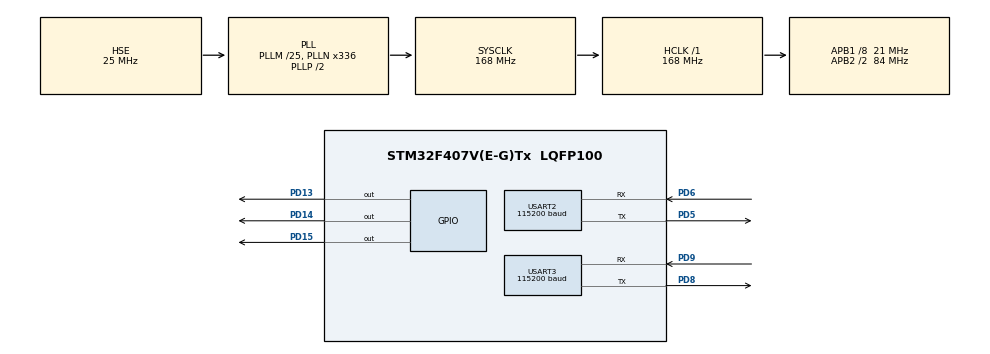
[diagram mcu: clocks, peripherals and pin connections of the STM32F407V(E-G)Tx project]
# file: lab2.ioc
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Dma.Request0=USART2_RX
Dma.USART2_RX.0.Direction=DMA_PERIPH_TO_MEMORY
Dma.USART2_RX.0.FIFOMode=DMA_FIFOMODE_DISABLE
Dma.USART2_RX.0.Instance=DMA1_Stream5
Dma.USART2_RX.0.MemDataAlignment=DMA_MDATAALIGN_BYTE
Dma.USART2_RX.0.MemInc=DMA_MINC_ENABLE
Dma.USART2_RX.0.Mode=DMA_NORMAL
Dma.USART2_RX.0.PeriphDataAlignment=DMA_PDATAALIGN_BYTE
Dma.USART2_RX.0.PeriphInc=DMA_PINC_DISABLE
Dma.USART2_RX.0.Priority=DMA_PRIORITY_LOW
IWDG.Prescaler=IWDG_PRESCALER_64
Mcu.Family=STM32F4
Mcu.Name=STM32F407V(E-G)Tx
Mcu.Package=LQFP100
NVIC.DMA1_Stream5_IRQn=true\:0\:0\:false\:false\:true\:false\:true
NVIC.PriorityGroup=NVIC_PRIORITYGROUP_4
NVIC.TIM1_UP_TIM10_IRQn=true\:0\:0\:false\:false\:true\:true\:true
NVIC.USART2_IRQn=true\:0\:0\:false\:false\:true\:true\:true
NVIC.USART3_IRQn=true\:0\:0\:false\:false\:true\:true\:true
PA13.Mode=JTAG_5_pins
PA13.Signal=SYS_JTMS-SWDIO
PA14.Mode=JTAG_5_pins
PA14.Signal=SYS_JTCK-SWCLK
PA15.Mode=JTAG_5_pins
PA15.Signal=SYS_JTDI
PB3.Mode=JTAG_5_pins
PB3.Signal=SYS_JTDO-SWO
PB4.Mode=JTAG_5_pins
PB4.Signal=SYS_JTRST
PC14-OSC32_IN.Mode=LSE-External-Oscillator
PC14-OSC32_IN.Signal=RCC_OSC32_IN
PC15-OSC32_OUT.Mode=LSE-External-Oscillator
PC15-OSC32_OUT.Signal=RCC_OSC32_OUT
PD13.GPIO_Speed=GPIO_SPEED_FREQ_HIGH
PD13.PinState=GPIO_PIN_RESET
PD13.Signal=GPIO_Output
PD14.GPIO_Speed=GPIO_SPEED_FREQ_HIGH
PD14.PinState=GPIO_PIN_RESET
PD14.Signal=GPIO_Output
PD15.GPIO_Speed=GPIO_SPEED_FREQ_HIGH
PD15.Signal=GPIO_Output
PD5.Mode=Asynchronous
PD5.Signal=USART2_TX
PD6.Mode=Asynchronous
PD6.Signal=USART2_RX
PD8.Mode=Asynchronous
PD8.Signal=USART3_TX
PD9.Mode=Asynchronous
PD9.Signal=USART3_RX
PH0-OSC_IN.Mode=HSE-External-Oscillator
PH0-OSC_IN.Signal=RCC_OSC_IN
PH1-OSC_OUT.Mode=HSE-External-Oscillator
PH1-OSC_OUT.Signal=RCC_OSC_OUT
ProjectManager.HeapSize=0x200
ProjectManager.StackSize=0x400
ProjectManager.TargetToolchain=STM32CubeIDE
RCC.48MHZClocksFreq_Value=84000000
RCC.AHBFreq_Value=168000000
RCC.APB1CLKDivider=RCC_HCLK_DIV8
RCC.APB1Freq_Value=21000000
RCC.APB1TimFreq_Value=42000000
RCC.APB2CLKDivider=RCC_HCLK_DIV2
RCC.APB2Freq_Value=84000000
RCC.APB2TimFreq_Value=168000000
RCC.CortexFreq_Value=168000000
RCC.HCLKFreq_Value=168000000
RCC.HSE_VALUE=25000000
RCC.HSI_VALUE=16000000
RCC.PLLM=25
RCC.PLLN=336
RCC.PLLSourceVirtual=RCC_PLLSOURCE_HSE
RCC.SYSCLKFreq_VALUE=168000000
RCC.SYSCLKSource=RCC_SYSCLKSOURCE_PLLCLK
RCC.VCOOutputFreq_Value=336000000
RTC.Format=RTC_FORMAT_BIN
RTC.Hours=10
RTC.Minutes=34
RTC.SynchPrediv=249
RTC.Year=99
TIM1.Period=49999
TIM1.Prescaler=1679
USART2.BaudRate=115200
USART2.VirtualMode=VM_ASYNC
USART3.BaudRate=115200
USART3.VirtualMode=VM_ASYNC
VP_IWDG_VS_IWDG.Mode=IWDG_Activate
VP_RTC_VS_RTC_Activate.Mode=RTC_Enabled
VP_RTC_VS_RTC_Calendar.Mode=RTC_Calendar
VP_TIM1_VS_ClockSourceINT.Mode=Internal
board=custom

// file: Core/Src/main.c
/* USER CODE BEGIN Header */
/**
  ******************************************************************************
  * @file           : main.c
  * @brief          : Main program body
  ******************************************************************************
  * @attention
  *
  * <h2><center>&copy; Copyright (c) 2020 STMicroelectronics.
  * All rights reserved.</center></h2>
  *
  * This software component is licensed by ST under BSD 3-Clause license,
  * the "License"; You may not use this file except in compliance with the
  * License. You may obtain a copy of the License at:
  *                        opensource.org/licenses/BSD-3-Clause
  *
  ******************************************************************************
  */
/* USER CODE END Header */
#include "main.h"
#include "dma.h"
#include "iwdg.h"
#include "rtc.h"
#include "tim.h"
#include "usart.h"
#include "gpio.h"

/* USER CODE BEGIN Includes */
#include "trace.h"
/* USER CODE END Includes */

/* USER CODE BEGIN PV */
RTC_TimeTypeDef sTime = {0};
RTC_DateTypeDef sDate = {0};

uint8_t timer_elapsed = 0;
uint8_t ticks_amount = 0;

uint8_t receiveBuffer[1] = {0};

/* USER CODE END PV */

void SystemClock_Config(void);

int main(void)
{

  /* MCU Configuration--------------------------------------------------------*/

  /* Reset of all peripherals, Initializes the Flash interface and the Systick. */
  HAL_Init();

  /* Configure the system clock */
  SystemClock_Config();

  /* Initialize all configured peripherals */
  MX_GPIO_Init();
  MX_DMA_Init();
  MX_IWDG_Init();
  MX_RTC_Init();
  MX_USART2_UART_Init();
  MX_USART3_UART_Init();
  MX_TIM1_Init();
  /* USER CODE BEGIN 2 */

  /* Do not remove this code below */
  MX_TRACE_Init();
  SDK_TRACE_Start();
  /* Do not remove this code from above */

  SDK_TRACE_Timestamp(HEADER, 1);
  SDK_TRACE_Print("%s","Lab 2");
  SDK_TRACE_Timestamp(HEADER, 0);

  /* Place your code from here */
  HAL_TIM_Base_Start_IT(&htim1);

  /* USER CODE END 2 */

  /* Infinite loop */
  /* USER CODE BEGIN WHILE */

  HAL_UART_Receive_DMA(&huart2, receiveBuffer,1);

  while (1)
  {
	  // limiting execution time for clab
	  if(ticks_amount == 6)
	  {
		  SDK_TRACE_Timestamp(PRINT, 1);
	  	  SDK_TRACE_Print("%s","Lab 2 end");
	  	  SDK_TRACE_Timestamp(PRINT, 0);
	  	  break;
	  }

	  //if timer flag set
	  if(timer_elapsed == 1)
	  {
		  timer_elapsed = 0;

		  //sending ticks
		  SDK_TRACE_Timestamp(U3_TSM, 1);
		  SDK_TRACE_Print("%s","sending ticks via usart3");
		  HAL_UART_Transmit(&huart3, &ticks_amount, 1, 1000);
		  SDK_TRACE_Timestamp(U3_TSM, 0);

	  }

    /* USER CODE END WHILE */

    /* USER CODE BEGIN 3 */
  }

  SDK_TRACE_Stop();
  /* USER CODE END 3 */
}

void SystemClock_Config(void)
{
  RCC_OscInitTypeDef RCC_OscInitStruct = {0};
  RCC_ClkInitTypeDef RCC_ClkInitStruct = {0};
  RCC_PeriphCLKInitTypeDef PeriphClkInitStruct = {0};

  /** Configure the main internal regulator output voltage
  */
  __HAL_RCC_PWR_CLK_ENABLE();
  __HAL_PWR_VOLTAGESCALING_CONFIG(PWR_REGULATOR_VOLTAGE_SCALE1);
  /** Initializes the RCC Oscillators according to the specified parameters
  * in the RCC_OscInitTypeDef structure.
  */
  RCC_OscInitStruct.OscillatorType = RCC_OSCILLATORTYPE_LSI|RCC_OSCILLATORTYPE_HSE;
  RCC_OscInitStruct.HSEState = RCC_HSE_ON;
  RCC_OscInitStruct.LSIState = RCC_LSI_ON;
  RCC_OscInitStruct.PLL.PLLState = RCC_PLL_ON;
  RCC_OscInitStruct.PLL.PLLSource = RCC_PLLSOURCE_HSE;
  RCC_OscInitStruct.PLL.PLLM = 25;
  RCC_OscInitStruct.PLL.PLLN = 336;
  RCC_OscInitStruct.PLL.PLLP = RCC_PLLP_DIV2;
  RCC_OscInitStruct.PLL.PLLQ = 4;
  if (HAL_RCC_OscConfig(&RCC_OscInitStruct) != HAL_OK)
  {
    Error_Handler();
  }
  /** Initializes the CPU, AHB and APB buses clocks
  */
  RCC_ClkInitStruct.ClockType = RCC_CLOCKTYPE_HCLK|RCC_CLOCKTYPE_SYSCLK
                              |RCC_CLOCKTYPE_PCLK1|RCC_CLOCKTYPE_PCLK2;
  RCC_ClkInitStruct.SYSCLKSource = RCC_SYSCLKSOURCE_PLLCLK;
  RCC_ClkInitStruct.AHBCLKDivider = RCC_SYSCLK_DIV1;
  RCC_ClkInitStruct.APB1CLKDivider = RCC_HCLK_DIV8;
  RCC_ClkInitStruct.APB2CLKDivider = RCC_HCLK_DIV2;

  if (HAL_RCC_ClockConfig(&RCC_ClkInitStruct, FLASH_LATENCY_5) != HAL_OK)
  {
    Error_Handler();
  }
  PeriphClkInitStruct.PeriphClockSelection = RCC_PERIPHCLK_RTC;
  PeriphClkInitStruct.RTCClockSelection = RCC_RTCCLKSOURCE_LSI;
  if (HAL_RCCEx_PeriphCLKConfig(&PeriphClkInitStruct) != HAL_OK)
  {
    Error_Handler();
  }
}

/* USER CODE BEGIN 4 */
void HAL_UART_RxCpltCallback(UART_HandleTypeDef *huart)
{
	SDK_TRACE_Timestamp(RX_CLB, 1);

    if (huart->Instance == USART2)
    {
    	SDK_TRACE_Print("%s","usart2 rx callback");
    	SDK_TRACE_Print("rcved ticks: %u", receiveBuffer[0]);
    	HAL_UART_Receive_DMA(&huart2, receiveBuffer,1);
    }

    SDK_TRACE_Timestamp(RX_CLB, 0);
}

void HAL_TIM_PeriodElapsedCallback(TIM_HandleTypeDef *htim)
{
		SDK_TRACE_Timestamp(T_CLB, 1);
        if(htim->Instance == TIM1) //check if the interrupt comes from TIM1
        {
        	timer_elapsed = 1;
        	ticks_amount++;

        	SDK_TRACE_Print("tick callback #%u",ticks_amount);
        }

        SDK_TRACE_Timestamp(T_CLB, 0);
}

/* USER CODE END 4 */

void Error_Handler(void)
{
  /* USER CODE BEGIN Error_Handler_Debug */
  /* User can add his own implementation to report the HAL error return state */

	SDK_TRACE_Print("%s","ERROR test");

  /* USER CODE END Error_Handler_Debug */
}

/************************ (C) COPYRIGHT STMicroelectronics *****END OF FILE****/
